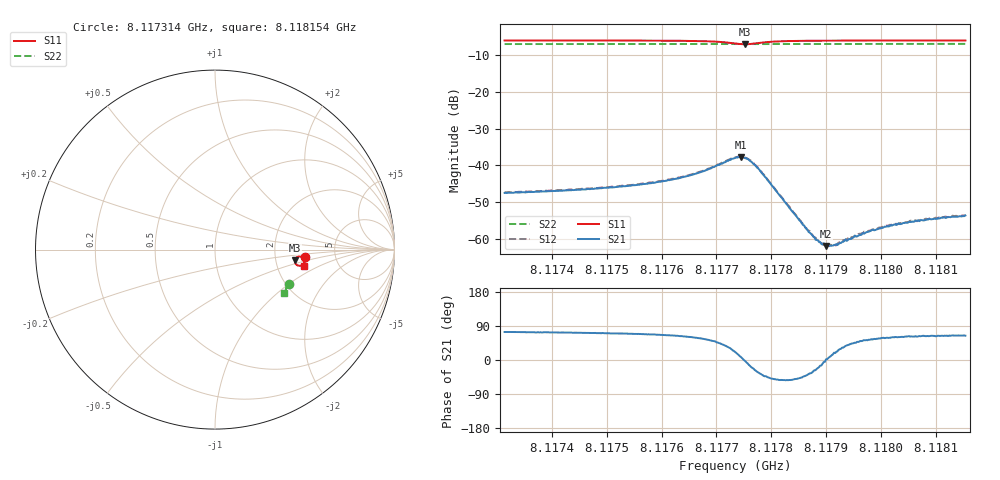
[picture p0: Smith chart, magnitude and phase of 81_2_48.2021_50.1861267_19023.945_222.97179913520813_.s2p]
#  HZ  S  RI  R  50.00
! Rohde & Schwarz Vector Network Analyzer
! Rohde-Schwarz,ZNB20-2Port,1311601062101988,3.16
! Created: UTC 3/20/2024, 11:39:41 AM
! freq[Hz]  re:S11  im:S11  re:S21  im:S21  re:S12  im:S12  re:S22  im:S22
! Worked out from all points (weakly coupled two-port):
!   401 points, 8.117314 GHz to 8.118154 GHz, reference 50 ohm
!   highest |S21| = -37.69 dB at 8.117744 GHz (marker M1); lowest = -62.0 dB at 8.1179 GHz (marker M2)
!   lowest |S11| = -7.0 dB at 8.117753 GHz (marker M3), VSWR 2.63, Z = 128 - j19.2 ohm
!   |S11| at or under -10 dB: nowhere
!   |S22| runs from -6.9 to -6.9 dB; largest |S21 - S12| = 0.00052
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8.1173139e9  0.5039 -0.042  0.00117 0.00405  0.00123 0.00415  0.4095 -0.1902
8.1174546e9  0.5018 -0.0545  0.00148 0.00446  0.00151 0.00456  0.4056 -0.1992
8.1175471e9  0.4997 -0.064  0.00192 0.00502  0.00196 0.00507  0.403 -0.2053
8.1175954e9  0.4975 -0.0702  0.00238 0.00548  0.00248 0.0056  0.4015 -0.2083
8.1176605e9  0.4908 -0.0811  0.0039 0.00655  0.00402 0.00664  0.3991 -0.2127
8.117692e9  0.482 -0.0877  0.00592 0.00722  0.00604 0.00726  0.3977 -0.2146
8.117734e9  0.4525 -0.083  0.0118 0.00459  0.012 0.00461  0.3952 -0.2165
8.1177445e9  0.4456 -0.0718  0.0129 0.00192  0.013 0.0018  0.3949 -0.2166
8.1177529e9  0.4448 -0.0599  0.0126 -0.0007  0.0127 -0.000979  0.3947 -0.2166
8.1177634e9  0.4515 -0.047  0.0107 -0.00359  0.011 -0.00365  0.3948 -0.2168
8.117776e9  0.4643 -0.0393  0.00769 -0.00492  0.00779 -0.00514  0.3952 -0.2174
8.1178138e9  0.4892 -0.0463  0.00246 -0.00321  0.00248 -0.00331  0.3949 -0.2202
8.1178621e9  0.4967 -0.0591  0.00106 -0.000954  0.00107 -0.00095  0.3937 -0.2236
8.1178747e9  0.4974 -0.0617  0.000944 -0.00061  0.000986 -0.000577  0.3933 -0.2246
8.1178873e9  0.4979 -0.064  0.000855 -0.000287  0.000877 -0.00028  0.3928 -0.2255
8.1178999e9  0.4981 -0.0661  0.000796 2.23e-05  0.000821 -4.31e-05  0.3924 -0.2262
8.1179041e9  0.4983 -0.0668  0.000803 7.1e-05  0.000827 4.92e-05  0.3924 -0.2265
8.1179188e9  0.4984 -0.069  0.000788 0.000314  0.000747 0.000328  0.392 -0.2275
8.1179734e9  0.4984 -0.076  0.000749 0.000976  0.000777 0.000993  0.3901 -0.231
8.1180154e9  0.4979 -0.0804  0.000776 0.00127  0.000822 0.00132  0.3887 -0.2337
8.1180868e9  0.4971 -0.0874  0.000838 0.00164  0.000845 0.00167  0.3863 -0.2381
8.118154e9  0.4962 -0.0933  0.000905 0.00187  0.00094 0.00187  0.3839 -0.2423
